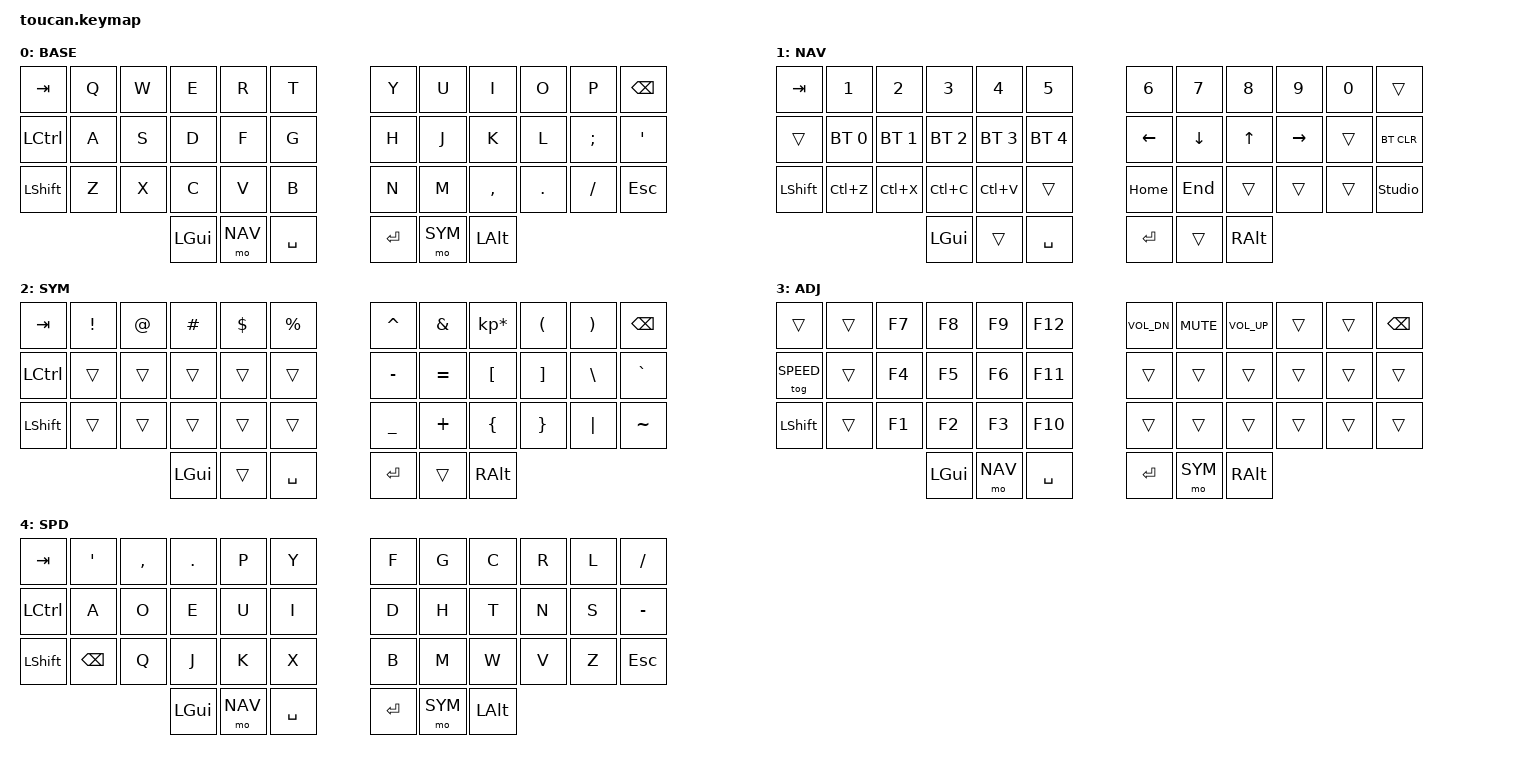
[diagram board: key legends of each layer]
/*
 * ZMK keymap for the beekeeb Toucan (42-key split)
 *
 * Goes in:  config/toucan.keymap
 * (NOT boards/shields/toucan/toucan.keymap — that is the shield default and is
 *  overridden by this file.)
 *
 * Layers:
 *   0 BASE  QWERTY
 *   1 NAV   numbers, arrows, bluetooth
 *   2 SYM   symbols
 *   3 ADJ   function keys, media, SPEED toggle  (tri-layer: NAV + SYM)
 *   4 SPEED  coding mode: home-row mods + symbol/bracket combos
 *
 * Physical key positions (used by hold-trigger-key-positions and combos):
 *
 *   0  1  2  3  4  5      6  7  8  9  10 11
 *   12 13 14 15 16 17     18 19 20 21 22 23
 *   24 25 26 27 28 29     30 31 32 33 34 35
 *         36 37 38        39 40 41
 */

#include <behaviors.dtsi>
#include <dt-bindings/zmk/keys.h>
#include <dt-bindings/zmk/bt.h>
#include <dt-bindings/zmk/outputs.h>

#define BASE 0
#define NAV  1
#define SYM  2
#define ADJ  3
#define SPEED 4

/* Position groups for cross-hand-only hold-tap triggering. */
#define LEFT_HAND  0  1  2  3  4  5 12 13 14 15 16 17 24 25 26 27 28 29
#define RIGHT_HAND 6  7  8  9 10 11 18 19 20 21 22 23 30 31 32 33 34 35
#define LEFT_THUMB  36 37 38
#define RIGHT_THUMB 39 40 41

/ {
    conditional_layers {
        compatible = "zmk,conditional-layers";
        tri_layer {
            if-layers = <NAV SYM>;
            then-layer = <ADJ>;
        };
    };

    behaviors {
        /*
         * Home-row mods.
         *
         * "balanced" resolves a hold as soon as another key is pressed AND
         * released, which suits fast typing better than "tap-preferred".
         *
         * require-prior-idle-ms: if you were typing in the last 150ms, the key
         * is treated as a tap outright. This is what stops "sad" or "fast"
         * from turning into modifier chords mid-word.
         *
         * hold-trigger-key-positions: a hold only registers if the next key is
         * on the OTHER hand, so same-hand rolls stay plain letters.
         *
         * If the build complains about `hold-trigger-on-release`, your ZMK
         * revision predates it — delete that one line, everything else stands.
         */
        hml: home_row_mod_left {
            compatible = "zmk,behavior-hold-tap";
            #binding-cells = <2>;
            flavor = "balanced";
            tapping-term-ms = <200>;
            quick-tap-ms = <175>;
            require-prior-idle-ms = <150>;
            bindings = <&kp>, <&kp>;
            hold-trigger-key-positions = <RIGHT_HAND RIGHT_THUMB>;
            hold-trigger-on-release;
        };

        hmr: home_row_mod_right {
            compatible = "zmk,behavior-hold-tap";
            #binding-cells = <2>;
            flavor = "balanced";
            tapping-term-ms = <200>;
            quick-tap-ms = <175>;
            require-prior-idle-ms = <150>;
            bindings = <&kp>, <&kp>;
            hold-trigger-key-positions = <LEFT_HAND LEFT_THUMB>;
            hold-trigger-on-release;
        };
    };

    macros {
        m_arrow: m_arrow {                  /* -> */
            compatible = "zmk,behavior-macro";
            #binding-cells = <0>;
            wait-ms = <0>;
            tap-ms = <5>;
            bindings = <&kp MINUS &kp GT>;
        };

        m_fatarrow: m_fatarrow {            /* => */
            compatible = "zmk,behavior-macro";
            #binding-cells = <0>;
            wait-ms = <0>;
            tap-ms = <5>;
            bindings = <&kp EQUAL &kp GT>;
        };

        m_neq: m_neq {                      /* != */
            compatible = "zmk,behavior-macro";
            #binding-cells = <0>;
            wait-ms = <0>;
            tap-ms = <5>;
            bindings = <&kp EXCL &kp EQUAL>;
        };

        m_eqeq: m_eqeq {                    /* == */
            compatible = "zmk,behavior-macro";
            #binding-cells = <0>;
            wait-ms = <0>;
            tap-ms = <5>;
            bindings = <&kp EQUAL &kp EQUAL>;
        };

        m_and: m_and {                      /* && */
            compatible = "zmk,behavior-macro";
            #binding-cells = <0>;
            wait-ms = <0>;
            tap-ms = <5>;
            bindings = <&kp AMPS &kp AMPS>;
        };

        m_or: m_or {                        /* || */
            compatible = "zmk,behavior-macro";
            #binding-cells = <0>;
            wait-ms = <0>;
            tap-ms = <5>;
            bindings = <&kp PIPE &kp PIPE>;
        };

        m_scope: m_scope {                  /* :: */
            compatible = "zmk,behavior-macro";
            #binding-cells = <0>;
            wait-ms = <0>;
            tap-ms = <5>;
            bindings = <&kp COLON &kp COLON>;
        };

        /* Self-closing pairs. Cursor is left between the delimiters. */
        m_paren: m_paren {                  /* () */
            compatible = "zmk,behavior-macro";
            #binding-cells = <0>;
            wait-ms = <0>;
            tap-ms = <5>;
            bindings = <&kp LPAR &kp RPAR &kp LEFT>;
        };

        m_brace: m_brace {                  /* {} */
            compatible = "zmk,behavior-macro";
            #binding-cells = <0>;
            wait-ms = <0>;
            tap-ms = <5>;
            bindings = <&kp LBRC &kp RBRC &kp LEFT>;
        };

        m_bracket: m_bracket {              /* [] */
            compatible = "zmk,behavior-macro";
            #binding-cells = <0>;
            wait-ms = <0>;
            tap-ms = <5>;
            bindings = <&kp LBKT &kp RBKT &kp LEFT>;
        };

        m_dquote: m_dquote {                /* "" */
            compatible = "zmk,behavior-macro";
            #binding-cells = <0>;
            wait-ms = <0>;
            tap-ms = <5>;
            bindings = <&kp DQT &kp DQT &kp LEFT>;
        };
    };

    combos {
        compatible = "zmk,combos";

        /*
         * Global: both outer thumb keys together toggles SPEED mode.
         * Far apart on opposite halves, so it will not fire by accident.
         */
        combo_toggle_speed {
            bindings = <&tog SPEED>;
            key-positions = <36 41>;
            timeout-ms = <60>;
            layers = <BASE SPEED>;
        };

    };

    keymap {
        compatible = "zmk,keymap";

        base {
            display-name = "BASE";
            bindings = <
                &kp TAB   &kp Q &kp W &kp E &kp R &kp T   &kp Y &kp U  &kp I     &kp O   &kp P    &kp BSPC
                &kp LCTRL &kp A &kp S &kp D &kp F &kp G   &kp H &kp J  &kp K     &kp L   &kp SEMI &kp SQT
                &kp LSHFT &kp Z &kp X &kp C &kp V &kp B   &kp N &kp M  &kp COMMA &kp DOT &kp FSLH &kp ESC
                            &kp LGUI &mo NAV &kp SPACE    &kp RET &mo SYM &kp LALT
            >;
        };

        nav {
            display-name = "NAV";
            bindings = <
                &kp TAB    &kp N1         &kp N2       &kp N3       &kp N4       &kp N5         &kp N6   &kp N7   &kp N8 &kp N9    &kp N0 &trans
                &trans     &bt BT_SEL 0   &bt BT_SEL 1 &bt BT_SEL 2 &bt BT_SEL 3 &bt BT_SEL 4   &kp LEFT &kp DOWN &kp UP &kp RIGHT &trans &bt BT_CLR
                &kp LSHFT  &kp LC(Z)      &kp LC(X)    &kp LC(C)    &kp LC(V)    &trans         &kp HOME &kp END  &trans &trans    &trans &studio_unlock
                                            &kp LGUI     &trans       &kp SPACE      &kp RET  &trans   &kp RALT
            >;
        };

        sym {
            display-name = "SYM";
            bindings = <
                &kp TAB   &kp EXCL &kp AT &kp HASH &kp DLLR &kp PRCNT   &kp CARET &kp AMPS  &kp KP_MULTIPLY &kp LPAR &kp RPAR &kp BSPC
                &kp LCTRL &trans   &trans &trans   &trans   &trans      &kp MINUS &kp EQUAL &kp LBKT        &kp RBKT &kp BSLH &kp GRAVE
                &kp LSHFT &trans   &trans &trans   &trans   &trans      &kp UNDER &kp PLUS  &kp LBRC        &kp RBRC &kp PIPE &kp TILDE
                                          &kp LGUI &trans   &kp SPACE   &kp RET   &trans    &kp RALT
            >;
        };

        adj {
            display-name = "ADJ";
            bindings = <
                &trans     &trans &kp F7 &kp F8 &kp F9 &kp F12   &kp C_VOL_DN &kp C_MUTE &kp C_VOL_UP &trans &trans &kp BSPC
                &tog SPEED  &trans &kp F4 &kp F5 &kp F6 &kp F11   &trans       &trans     &trans       &trans &trans &trans
                &kp LSHFT  &trans &kp F1 &kp F2 &kp F3 &kp F10   &trans       &trans     &trans       &trans &trans &trans
                            &kp LGUI &mo NAV &kp SPACE           &kp RET &mo SYM &kp RALT
            >;
        };

        /*
         * SPEED — Dvorak typing mode.
         *
         * Standard Dvorak alpha layout:
         *
         *   ' , . P Y F G C R L /
         *   A O E U I D H T N S -
         *   ; Q J K X B M W V Z
         *
         * Thumb keys and the NAV/SYM layer access are unchanged.
         * Toggle SPEED with the two outer thumb keys together, or
         * with the far-right thumb key while SPEED is active.
         */
        speed {
            display-name = "SPD";
            bindings = <
                &kp TAB   &kp SQT  &kp COMMA &kp DOT &kp P &kp Y   &kp F &kp G &kp C &kp R &kp L &kp FSLH
                &kp LCTRL &kp A    &kp O     &kp E   &kp U &kp I   &kp D &kp H &kp T &kp N &kp S &kp MINUS
                &kp LSHFT &kp BSPC &kp Q     &kp J   &kp K &kp X   &kp B &kp M &kp W &kp V &kp Z &kp ESC
                              &kp LGUI &mo NAV &kp SPACE             &kp RET &mo SYM &kp LALT
            >;
        };

        extra_1 {
            status = "reserved";
        };

        extra_2 {
            status = "reserved";
        };
    };
};
